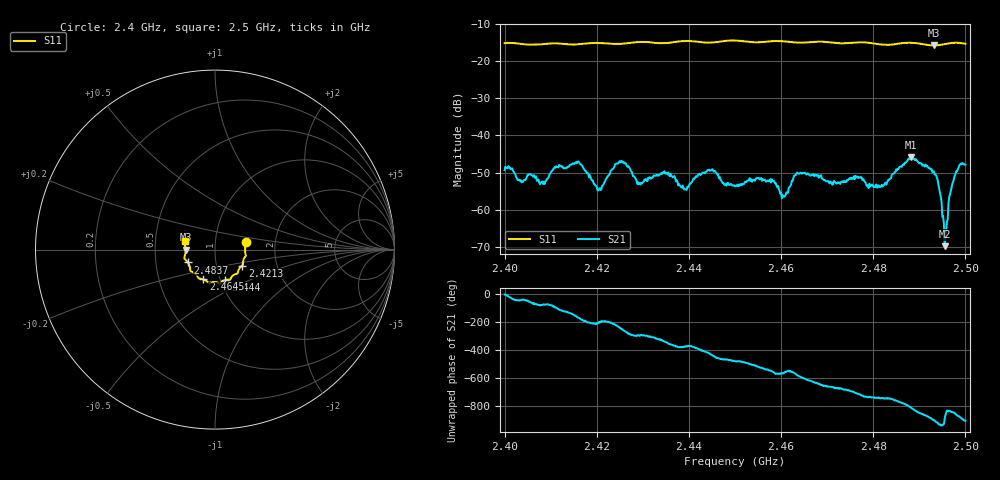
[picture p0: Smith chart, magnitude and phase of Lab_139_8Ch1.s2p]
# Hz S RI R 50
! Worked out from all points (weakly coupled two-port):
!   601 points, 2.4 GHz to 2.5 GHz, reference 50 ohm
!   highest |S21| = -45.92 dB at 2.4882 GHz (marker M1); lowest = -69.9 dB at 2.4955 GHz (marker M2)
!   lowest |S11| = -15.7 dB at 2.4932 GHz (marker M3), VSWR 1.39, Z = 35.9 - j0.0583 ohm
!   |S11| at or under -10 dB: start of sweep to end of sweep
!   S12 and S22 are empty: the file has one direction only
!   S11 on the Smith chart (normalised r, x): 2.4 GHz: 1.41, +0.12; 2.4213 GHz: 1.33, -0.25; 2.444 GHz: 1.06, -0.37; 2.4645 GHz: 0.83, -0.29; 2.4837 GHz: 0.73, -0.11; 2.5 GHz: 0.71, +0.07
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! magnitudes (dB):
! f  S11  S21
! 2.4 GHz  -15.1  -49.3
! 2.4082 GHz  -15.4  -52.4
! 2.4167 GHz  -15.3  -48.0
! 2.4213 GHz  -15.1  -53.4
! 2.4253 GHz  -15.3  -46.9
! 2.4293 GHz  -14.8  -52.8
! 2.4333 GHz  -15.1  -50.9
! 2.4393 GHz  -14.5  -54.5
! 2.444 GHz  -15.0  -49.4
! 2.45 GHz  -14.4  -53.7
! 2.458 GHz  -14.6  -51.8
! 2.4607 GHz  -14.6  -56.5
! 2.4645 GHz  -15.0  -50.3
! 2.4667 GHz  -14.8  -50.6
! 2.4833 GHz  -15.6  -52.1
! 2.4837 GHz  -15.5  -51.7
! 2.4882 GHz  -15.0  -45.9
! 2.4932 GHz  -15.7  -49.7
! 2.4943 GHz  -15.6  -54.4
! 2.4955 GHz  -15.4  -69.9
! 2.4977 GHz  -15.0  -50.9
! 2.5 GHz  -15.3  -47.9
